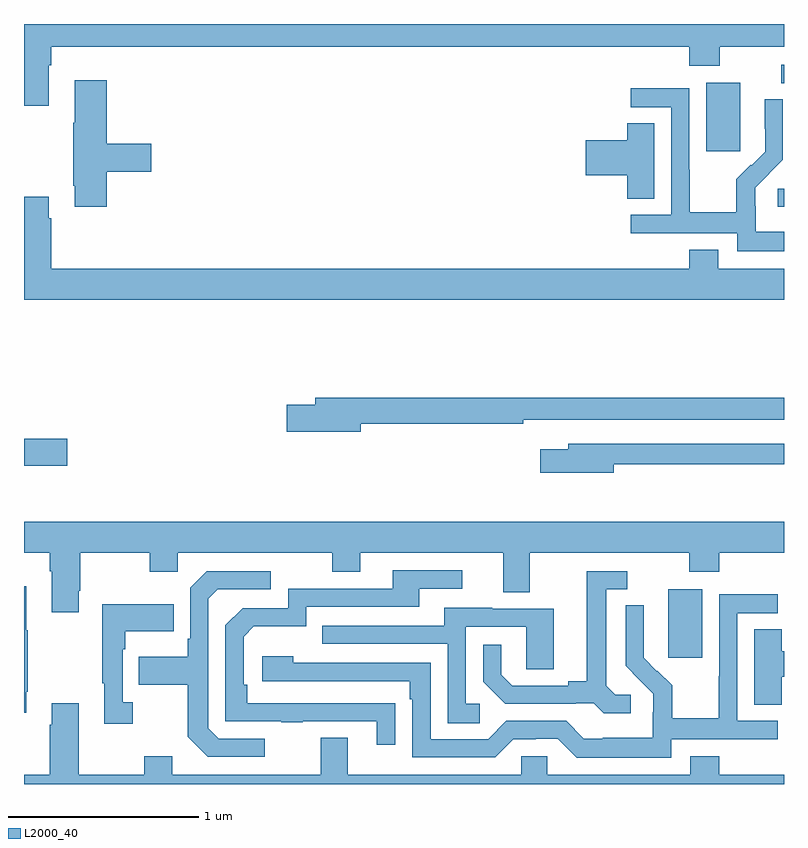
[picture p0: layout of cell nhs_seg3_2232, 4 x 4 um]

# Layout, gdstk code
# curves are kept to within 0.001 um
import gdstk
lib = gdstk.Library(unit=1e-6, precision=1e-09)
def R(c, l, rs):  # rectangles x0, y0, x1, y1
    for r in rs: c.add(gdstk.rectangle(r[:2], r[2:], *l))
def P(c, l, *ps):  # polygons
    for p in ps: c.add(gdstk.Polygon(p, *l))
L2000_40 = (2000, 40)

nhs_seg3_2232 = lib.new_cell('nhs_seg3_2232')
R(nhs_seg3_2232, L2000_40, [(230.39,667.065,230.569,667.426), (227,668.074,227.227,668.216), (230.967,669.437,231,669.534), (230.591,669.729,230.77,670.09), (230.985,670.089,231,670.185)])
P(nhs_seg3_2232, L2000_40, [(227.131,670.184),(227.144,670.184),(227.144,670.28),(230.501,670.28),(230.501,670.181),(230.661,670.181),(230.661,670.28),(231,670.28),(231,670.4),(227,670.4),(227,669.969),(227.131,669.969)],
  [(227.435,669.623),(227.671,669.623),(227.671,669.77),(227.435,669.77),(227.435,670.105),(227.267,670.105),(227.267,669.881),(227.26,669.881),(227.26,669.55),(227.267,669.55),(227.267,669.438),(227.435,669.438)],
  [(231,669.307),(230.85,669.307),(230.85,669.441),(230.848,669.441),(230.848,669.538),(230.994,669.686),(230.994,670.004),(230.898,670.004),(230.898,669.85),(230.9,669.85),(230.9,669.728),(230.829,669.657),(230.826,669.66),(230.749,669.583),(230.749,669.409),(230.505,669.409),(230.505,669.632),(230.502,669.632),(230.502,670.062),(230.193,670.062),(230.193,669.963),(230.406,669.963),(230.406,669.396),(230.193,669.396),(230.193,669.3),(230.754,669.3),(230.754,669.203),(231,669.203)],
  [(230.317,669.878),(230.174,669.878),(230.174,669.788),(229.956,669.788),(229.956,669.605),(230.174,669.605),(230.174,669.481),(230.317,669.481)],
  [(231,669.112),(230.653,669.112),(230.653,669.211),(230.501,669.211),(230.501,669.112),(227.144,669.112),(227.144,669.377),(227.131,669.377),(227.131,669.49),(227,669.49),(227,668.948),(231,668.948)],
  [(228.772,668.296),(229.628,668.296),(229.628,668.316),(231,668.316),(231,668.432),(228.533,668.432),(228.533,668.396),(228.384,668.396),(228.384,668.254),(228.772,668.254)],
  [(230.104,668.082),(231,668.082),(231,668.19),(229.865,668.19),(229.865,668.161),(229.716,668.161),(229.716,668.039),(230.104,668.039)],
  [(227.287,667.417),(227.295,667.417),(227.295,667.616),(227.662,667.616),(227.662,667.517),(227.808,667.517),(227.808,667.616),(228.622,667.616),(228.622,667.517),(228.769,667.517),(228.769,667.616),(229.523,667.616),(229.523,667.408),(229.663,667.408),(229.663,667.616),(230.5,667.616),(230.5,667.517),(230.66,667.517),(230.66,667.616),(231,667.616),(231,667.78),(227,667.78),(227,667.616),(227.135,667.616),(227.135,667.52),(227.147,667.52),(227.147,667.305),(227.287,667.305)],
  [(228.953,666.824),(228.176,666.825),(228.176,666.922),(228.156,666.922),(228.156,667.176),(228.209,667.229),(228.486,667.229),(228.486,667.332),(229.081,667.332),(229.081,667.428),(229.306,667.428),(229.306,667.524),(228.941,667.524),(228.941,667.428),(228.39,667.428),(228.39,667.326),(228.15,667.326),(228.06,667.236),(228.06,666.729),(228.355,666.729),(228.355,666.724),(228.467,666.724),(228.467,666.729),(228.857,666.729),(228.857,666.606),(228.953,666.606)],
  [(230.194,666.87),(230.112,666.87),(230.065,666.917),(230.065,667.425),(230.176,667.425),(230.176,667.521),(229.961,667.521),(229.961,666.941),(229.865,666.941),(229.865,666.918),(229.57,666.918),(229.513,666.975),(229.513,667.132),(229.416,667.132),(229.416,666.938),(229.532,666.822),(229.904,666.822),(229.904,666.825),(229.998,666.825),(230.05,666.773),(230.194,666.773)],
  [(228.268,666.639),(228.024,666.639),(227.97,666.693),(227.97,667.374),(228.021,667.425),(228.298,667.425),(228.298,667.521),(227.961,667.521),(227.874,667.434),(227.874,667.165),(227.862,667.165),(227.862,667.069),(227.605,667.069),(227.605,666.922),(227.862,666.922),(227.862,666.649),(227.967,666.543),(228.268,666.543)],
  [(227.011,666.886),(227.019,666.886),(227.019,667.209),(227.011,667.209),(227.011,667.441),(227,667.441),(227,666.774),(227.011,666.774)],
  [(230.406,666.636),(230.968,666.636),(230.968,666.732),(230.754,666.732),(230.754,667.299),(230.968,667.299),(230.968,667.398),(230.658,667.398),(230.658,666.968),(230.656,666.968),(230.656,666.745),(230.411,666.745),(230.411,666.919),(230.334,666.996),(230.331,666.993),(230.261,667.064),(230.262,667.34),(230.166,667.34),(230.166,667.022),(230.312,666.874),(230.312,666.777),(230.31,666.777),(230.31,666.643),(230.047,666.643),(230.047,666.639),(229.947,666.639),(229.854,666.732),(229.539,666.732),(229.443,666.636),(229.14,666.636),(229.14,667.038),(228.416,667.038),(228.416,667.072),(228.255,667.072),(228.255,666.942),(229.031,666.942),(229.031,666.845),(229.044,666.845),(229.044,666.54),(229.479,666.54),(229.575,666.636),(229.694,666.636),(229.694,666.639),(229.809,666.639),(229.909,666.539),(230.406,666.539)],
  [(227.572,666.83),(227.52,666.83),(227.52,667.109),(227.533,667.109),(227.533,667.205),(227.789,667.205),(227.789,667.345),(227.412,667.345),(227.412,666.929),(227.423,666.929),(227.423,666.717),(227.572,666.717)],
  [(229.399,666.822),(229.326,666.822),(229.326,667.227),(229.644,667.227),(229.644,667.003),(229.789,667.003),(229.789,667.323),(229.465,667.323),(229.465,667.327),(229.211,667.327),(229.211,667.233),(228.571,667.233),(228.571,667.137),(229.23,667.137),(229.23,666.721),(229.399,666.721)],
  [(230.987,666.964),(231,666.964),(231,667.1),(230.987,667.1),(230.987,667.214),(230.843,667.214),(230.843,666.817),(230.987,666.817)],
  [(231,666.448),(230.66,666.448),(230.66,666.547),(230.507,666.547),(230.507,666.448),(229.755,666.448),(229.755,666.546),(229.617,666.546),(229.617,666.448),(228.703,666.448),(228.703,666.643),(228.563,666.643),(228.563,666.448),(227.779,666.448),(227.779,666.547),(227.632,666.547),(227.632,666.448),(227.287,666.448),(227.287,666.826),(227.147,666.826),(227.147,666.713),(227.135,666.713),(227.135,666.448),(227,666.448),(227,666.4),(231,666.4)])

lib.write_gds('nhs_seg3_2232.gds')
